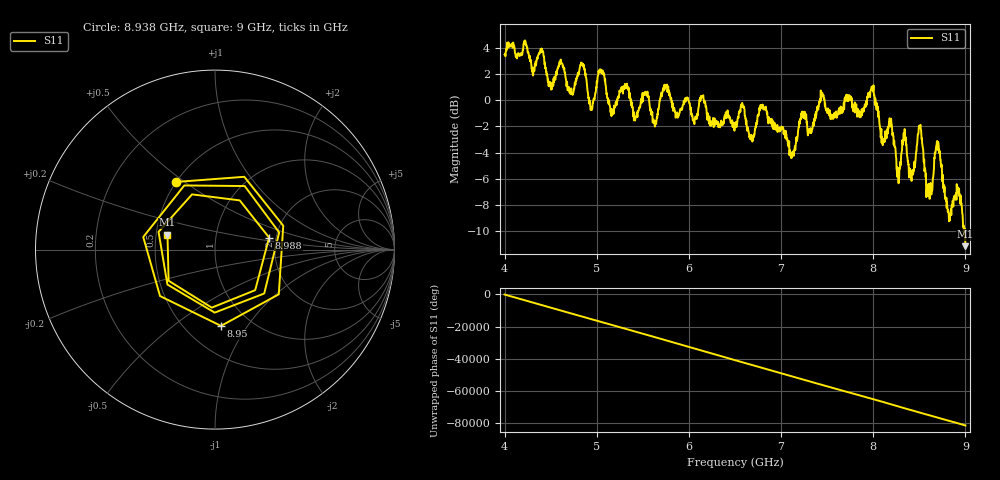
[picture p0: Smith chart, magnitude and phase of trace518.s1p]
! Created with skrf 1.8.0 (http://scikit-rf.org).
# Hz S RI R 50.0
!freq ReS11 ImS11
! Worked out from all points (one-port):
!   1601 points, 4 GHz to 9 GHz, reference 50 ohm
!   lowest |S11| = -11.1 dB at 9 GHz (marker M1), VSWR 1.77, Z = 28.7 + j5.21 ohm
!   |S11| at or under -10 dB: 8.982905 GHz to 8.990388 GHz (7.483 MHz wide, 0.0833 % of centre); 8.995821 GHz to end of sweep
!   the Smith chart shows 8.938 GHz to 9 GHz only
!   S11 on the Smith chart (normalised r, x): 8.938 GHz: 0.50, +0.46; 8.95 GHz: 0.73, -0.76; 8.988 GHz: 1.84, +0.27; 9 GHz: 0.57, +0.10
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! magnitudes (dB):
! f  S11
! 4 GHz  3.5
! 4.503 GHz  0.8
! 4.625 GHz  2.8
! 4.725 GHz  0.6
! 4.847 GHz  2.8
! 4.934 GHz  -0.7
! 5.041 GHz  2.1
! 5.159 GHz  -1.2
! 5.25 GHz  0.6
! 5.875 GHz  -1.2
! 6.5 GHz  -1.7
! 6.688 GHz  -3.1
! 6.812 GHz  -0.7
! 7.125 GHz  -4.1
! 7.234 GHz  -1.2
! 7.75 GHz  0.2
! 7.988 GHz  0.8
! 8.272 GHz  -5.7
! 8.375 GHz  -4.7
! 8.428 GHz  -5.6
! 8.506 GHz  -2.1
! 8.6 GHz  -6.4
! 8.697 GHz  -3.1
! 8.822 GHz  -9.2
! 8.938 GHz  -7.2
! 8.95 GHz  -7.4
! 8.988 GHz  -10.2
! 9 GHz  -11.1
